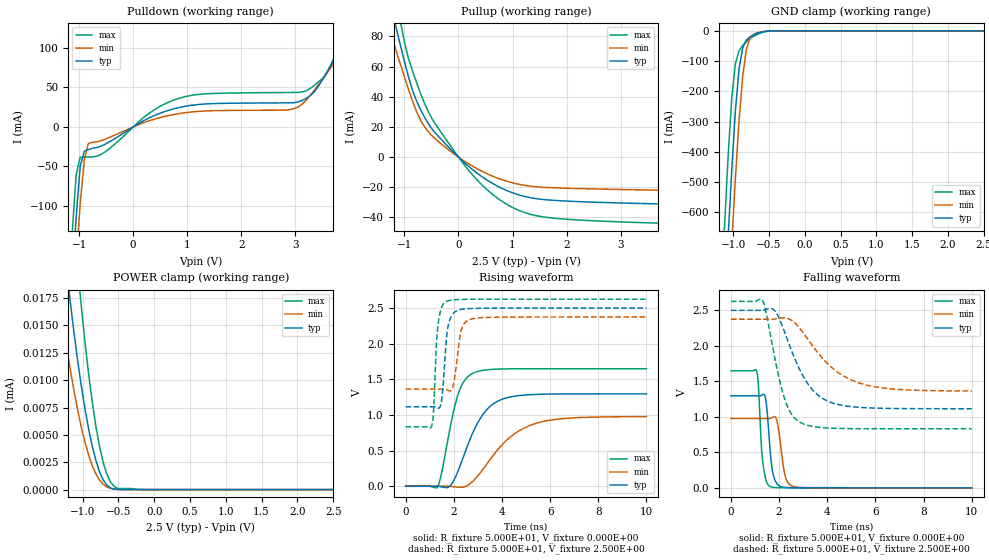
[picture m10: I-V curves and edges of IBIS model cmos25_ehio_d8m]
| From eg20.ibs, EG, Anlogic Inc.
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|   Model cmos25_ehio_d8m
[Model] cmos25_ehio_d8m
Model_type I/O
Enable   Active-Low
Vinl =  7.000E-01
Vinh =  1.700E+00
Vmeas =  1.250E+00
C_comp   4.500E-12   4.200E-12   4.800E-12
[Temperature Range]   2.500E+01   8.500E+01   -4.000E+01
[Voltage Range]   2.500E+00   2.375E+00   2.625E+00
[POWER Clamp Reference]   2.500E+00   2.375E+00   2.625E+00
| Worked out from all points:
|   slope of the pulldown table from 0 to 0.375 V, typ, clamps not added: 26.9 ohm
|   slope of the pullup table from 0 to 0.375 V, typ, clamps not added: 32.7 ohm
|   GND clamp passes 1 mA (typ) near -0.51 V on its own axis
|   rising waveform, R_fixture 5.000E+01, V_fixture 0.000E+00: 20-80 % time 1.05ns typ, 1.62ns min, 630ps max; typ from 0 V to 1.3 V
|   rising waveform, R_fixture 5.000E+01, V_fixture 2.500E+00: 20-80 % time 199ps typ, 243ps min, 168ps max; typ from 1.11 V to 2.5 V
|   falling waveform, R_fixture 5.000E+01, V_fixture 0.000E+00: 20-80 % time 201ps typ, 240ps min, 175ps max; typ from 1.3 V to 0 V
|   falling waveform, R_fixture 5.000E+01, V_fixture 2.500E+00: 20-80 % time 1.16ns typ, 1.7ns min, 715ps max; typ from 2.5 V to 1.11 V
[Pulldown]
|Voltage   I(typ)   I(min)   I(max)
-2.5V     -1.669A    -1.597A    -1.754A
-1.132V   -196.2mA   -246.2mA   -137.8mA
-1.056V   -115.2mA   -170.5mA   -61.16mA
-980mV    -49.83mA   -97.13mA   -38.23mA
-904mV    -30.5mA    -41.42mA   -38.14mA
-828mV    -28.62mA   -20.84mA   -38.04mA
540mV     18.42mA    12.59mA    27.55mA
2.972V    30.58mA    23.08mA    43.62mA
3.504V    59.89mA    60.36mA    61.3mA
4.036V    126.4mA    112.3mA    141.7mA
4.188V    146.1mA    127.5mA    167.9mA
5V        248.3mA    206.5mA    302.6mA
[Pullup]
|Voltage   I(typ)   I(min)   I(max)
-2.5V     269.7mA    200.2mA    347.6mA
-1.308V   108.6mA    88.2mA     134.7mA
-1.156V   86.02mA    70.68mA    105.2mA
-1.08V    74.89mA    62.07mA    90.65mA
-928mV    53.59mA    45.29mA    65.64mA
-776mV    37.17mA    30.11mA    49.46mA
-624mV    26.08mA    19.89mA    35.2mA
-472mV    17.71mA    13.48mA    24.31mA
364mV     -11.18mA   -8.105mA   -15.89mA
1.048V    -24.27mA   -17.48mA   -34.23mA
1.884V    -28.94mA   -20.51mA   -40.87mA
5V        -32.2mA    -22.76mA   -45.4mA
[GND_clamp]
|Voltage   I(typ)   I(min)   I(max)
-2.5V     -8.418A    -8.418A    -8.417A
-1.123V   -930.3mA   -1.179A    -654.3mA
-1.072V   -686.5mA   -937.5mA   -418.3mA
-1.021V   -460.4mA   -705.5mA   -224.3mA
-970mV    -265mA     -489.1mA   -108.9mA
-919mV    -126.3mA   -299.2mA   -66.46mA
-868mV    -56.3mA    -151.3mA   -48.52mA
-817mV    -30.13mA   -62.02mA   -36.27mA
-766mV    -19.43mA   -24.49mA   -26.43mA
-715mV    -12.99mA   -11.58mA   -18.38mA
-460mV    -252.4uA   -232.3uA   -246.2uA
2.5V      0A         0A         0A
[POWER_clamp]
|Voltage   I(typ)   I(min)   I(max)
-2.5V     148.8uA    110.4uA    210.4uA
-1.325V   26.65uA    17.72uA    42.46uA
-1.223V   20.08uA    13.05uA    32.78uA
-1.172V   17.1uA     10.96uA    28.34uA
-1.07V    11.79uA    7.288uA    20.3uA
-1.019V   9.479uA    5.728uA    16.75uA
-917mV    5.566uA    3.179uA    10.59uA
-866mV    3.984uA    2.205uA    8.014uA
-764mV    1.629uA    869nA      3.939uA
-662mV    406.6nA    239.7nA    1.408uA
-509mV    16.06nA    16.71nA    97.23nA
2.5V      0A         0A         0A
[Ramp]
| variable   typ   min   max
dV/dt_r   7.775E-01/1.050E-09   5.858E-01/1.619E-09   9.891E-01/6.308E-10
dV/dt_f   8.313E-01/1.171E-09   6.068E-01/1.699E-09   1.075E+00/7.222E-10
R_load = 5.000E+01
[Rising Waveform]
R_fixture= 5.000E+01
V_fixture= 0.000E+00
V_fixture_min= 0.000E+00
V_fixture_max= 0.000E+00
|time   V(typ)   V(min)   V(max)
0s        0V         0V         0V
1.312ns   926.6uV    1.312uV    -13.74mV
1.482ns   -8.273mV   -32.08uV   169.3mV
1.799ns   -9.335mV   384uV      737.2mV
2.152ns   195.2mV    -12.78mV   1.262V
2.423ns   434.3mV    -9.1mV     1.474V
2.812ns   767.2mV    77.31mV    1.588V
3.689ns   1.167V     456.8mV    1.641V
5.182ns   1.285V     855.5mV    1.648V
10ns      1.296V     976.4mV    1.648V
[Rising Waveform]
R_fixture= 5.000E+01
V_fixture= 2.500E+00
V_fixture_min= 2.375E+00
V_fixture_max= 2.625E+00
|time   V(typ)   V(min)   V(max)
0s        1.114V     1.362V     832.7mV
1.085ns   1.115V     1.362V     849.6mV
1.152ns   1.115V     1.362V     1.029V
1.342ns   1.096V     1.362V     2.256V
1.508ns   1.242V     1.363V     2.524V
1.679ns   2.008V     1.359V     2.591V
1.948ns   2.411V     1.384V     2.613V
2.311ns   2.482V     2.19V      2.621V
2.67ns    2.493V     2.339V     2.624V
10ns      2.5V       2.375V     2.625V
[Falling Waveform]
R_fixture= 5.000E+01
V_fixture= 0.000E+00
V_fixture_min= 0.000E+00
V_fixture_max= 0.000E+00
|time   V(typ)   V(min)   V(max)
0s        1.296V     977mV      1.648V
1.068ns   1.296V     977mV      1.647V
1.136ns   1.295V     977mV      1.457V
1.316ns   1.314V     977.1mV    381.6mV
1.458ns   1.215V     976.6mV    106.2mV
1.636ns   496.6mV    979.1mV    16.81mV
1.893ns   68.19mV    961.9mV    3.574mV
2.253ns   6.235mV    167.3mV    1.477mV
2.563ns   2.561mV    21.96mV    847.6uV
10ns      665.5nV    6.822uV    0V
[Falling Waveform]
R_fixture= 5.000E+01
V_fixture= 2.500E+00
V_fixture_min= 2.375E+00
V_fixture_max= 2.625E+00
|time   V(typ)   V(min)   V(max)
0s        2.5V       2.375V     2.625V
1.32ns    2.499V     2.375V     2.636V
1.476ns   2.517V     2.375V     2.447V
1.807ns   2.499V     2.376V     1.854V
2.216ns   2.205V     2.396V     1.268V
2.526ns   1.925V     2.358V     1.032V
2.896ns   1.638V     2.23V      918.5mV
3.777ns   1.266V     1.835V     848.2mV
5.177ns   1.138V     1.495V     834mV
10ns      1.114V     1.364V     832.7mV
